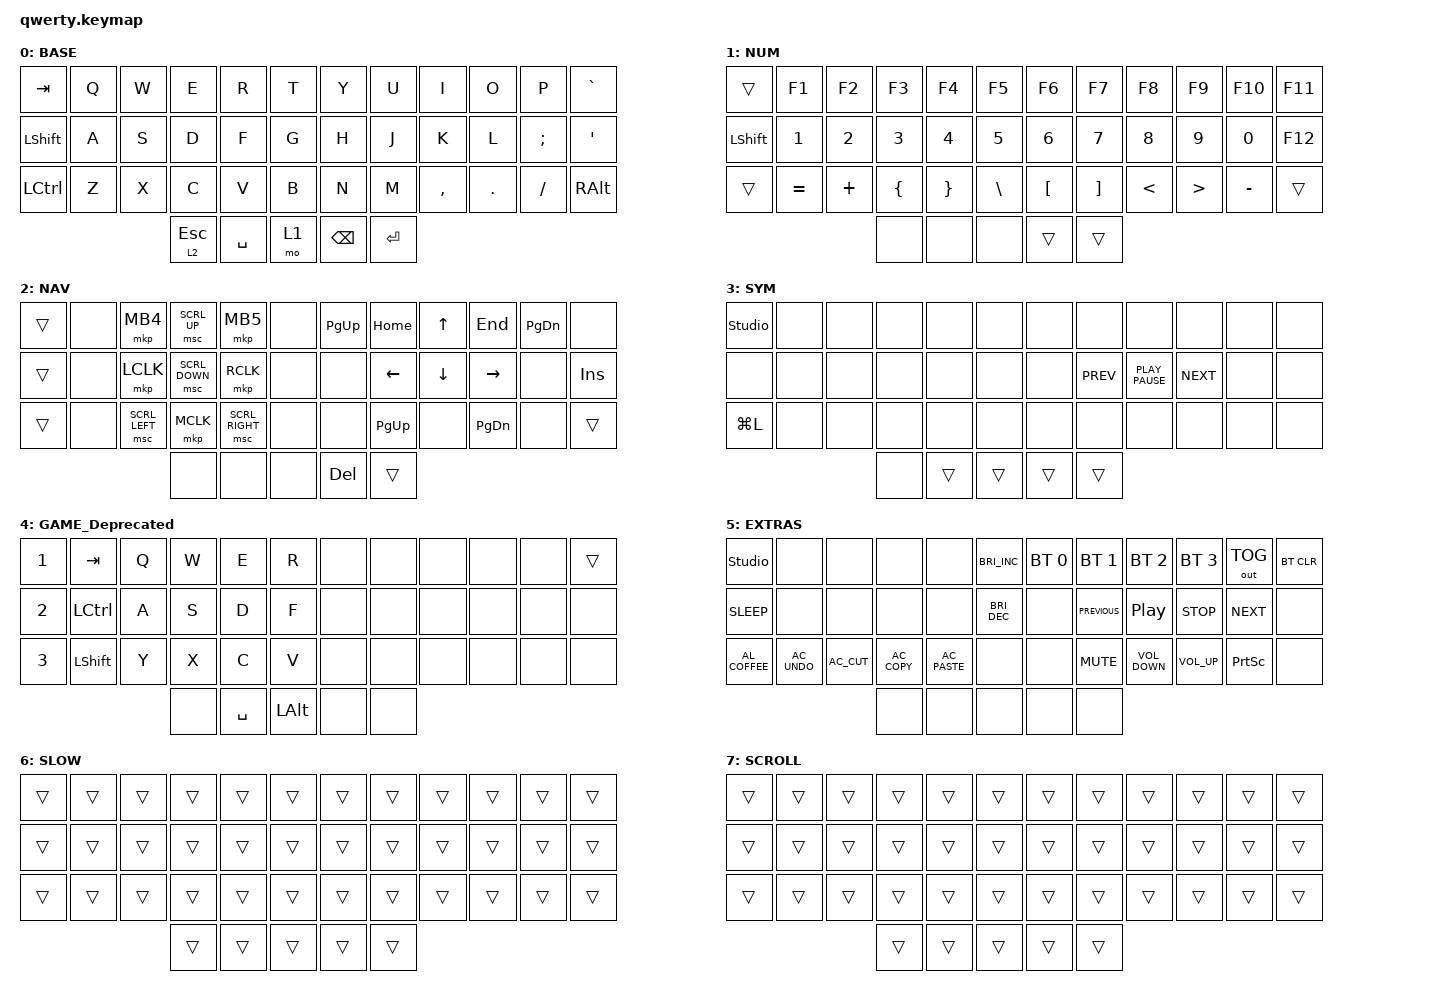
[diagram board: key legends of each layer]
/* upstream bindings and behaviors */

#include <dt-bindings/zmk/mouse.h>
#include <behaviors/mouse_keys.dtsi>
#include <behaviors.dtsi>
#include <dt-bindings/zmk/bt.h>
#include <dt-bindings/zmk/keys.h>
#include <dt-bindings/zmk/outputs.h>
#include <dt-bindings/zmk/pointing.h>

/ {
    behaviors {
        // 两个参数，第一个参数：层数（长按触发）；第二个参数：鼠标按键（短按触发）

        ht_left_click_nav: ht_left_click_nav {
            compatible = "zmk,behavior-hold-tap";
            #binding-cells = <2>;       // 需要 2 个参数（hold 层 + tap 键）
            flavor = "tap-preferred";   // 优先短按（更符合“点击”的直觉）
            tapping-term-ms = <170>;    // 长按判定时间 170ms（可调整）
            // 移除 hold-trigger-on-release（长按立即触发）
            // 移除 hold-trigger-key-positions（避免误判）

            bindings = <&mo>, <&mkp>;

            // 长按切换到层 3，短按发送左箭头
        };

        ht_left_mo_kp: ht_left_mo_kp {
            compatible = "zmk,behavior-hold-tap";
            #binding-cells = <2>;   // 两个参数（层 + 按键）
            flavor = "tap-preferred";   // 优先触发（短按）
            tapping-term-ms = <170>;    // 长按判定时间 200ms
            bindings = <&mo>, <&kp>;
        };

        mo_kp: mo_kp {
            compatible = "zmk,behavior-hold-tap";
            #binding-cells = <2>;
            flavor = "hold-preferred";
            tapping-term-ms = <40>;
            hold-while-undecided;
            bindings = <&mo>, <&kp>;
        };

        td_bore: BASE_or_EXTRA {
            compatible = "zmk,behavior-tap-dance";
            #binding-cells = <0>;
            bindings = <&mo 5>, <&to 0>;
        };
    };

    combos {
        compatible = "zmk,combos";

        CapsWord {
            bindings = <&caps_word>;
            key-positions = <17 18>;
            layers = <0>;
        };

        combo_BASE_or_EXTRAS {
            bindings = <&td_bore>;
            key-positions = <38 39>;
        };

        togle_layer_sys {
            bindings = <&mo 3>;
            key-positions = <36 37>;
        };
    };

    /* --- KEYMAP CONFIG --- */
    // ╭──────┬──────┬──────┬──────┬──────┬──────╮  ╭──────┬──────┬──────┬──────┬──────┬──────╮
    //    00     01     02     03    04      05        06     07     08     09     10     11
    // ├──────┼──────┼──────┼──────┼──────┼──────┤  ├──────┼──────┼──────┼──────┼──────┼──────┤
    //    12     13     14     15    16      17        18     19     20     21     22     23
    // ├──────┼──────┼──────┼──────┼──────┼──────┤  ├──────┼──────┼──────┼──────┼──────┼──────┤
    //    24     25     26     27    28      29        30     31     32     33     34     35
    // ╰──────┴──────┴──────┼──────┼──────┼──────┤  ├──────┼──────┼──────┴──────┴──────┴──────╯
    //                         36     37     38        39     40
    //                      ╰──────┴──────┴──────╯  ╰──────┴──────╯
    // #define BASE    0
    // #define NUM     1
    // #define NAV     2
    // #define SYM     3
    // #define GAME    4
    // #define EXTRAS  5
    // #define SLOW    6
    // #define SCROLL  7

    keymap {
        compatible = "zmk,keymap";

        BASE {
            bindings = <
&kp TAB           &kp Q  &kp W  &kp E                 &kp R      &kp T    &kp Y          &kp U      &kp I      &kp O    &kp P      &kp GRAVE
&kp LEFT_SHIFT    &kp A  &kp S  &kp D                 &kp F      &kp G    &kp H          &kp J      &kp K      &kp L    &kp SEMI   &kp SQT
&kp LEFT_CONTROL  &kp Z  &kp X  &kp C                 &kp V      &kp B    &kp N          &kp M      &kp COMMA  &kp DOT  &kp SLASH  &kp RIGHT_ALT
                                &ht_left_mo_kp 2 ESC  &kp SPACE  &mo 1    &kp BACKSPACE  &kp ENTER
            >;
        };

        NUM {
            bindings = <
&trans          &kp F1        &kp F2        &kp F3          &kp F4           &kp F5           &kp F6            &kp F7             &kp F8         &kp F9            &kp F10       &kp F11
&kp LEFT_SHIFT  &kp NUMBER_1  &kp NUMBER_2  &kp NUMBER_3    &kp NUMBER_4     &kp NUMBER_5     &kp NUMBER_6      &kp NUMBER_7       &kp NUMBER_8   &kp NUMBER_9      &kp NUMBER_0  &kp F12
&trans          &kp EQUAL     &kp PLUS      &kp LEFT_BRACE  &kp RIGHT_BRACE  &kp BACKSLASH    &kp LEFT_BRACKET  &kp RIGHT_BRACKET  &kp LESS_THAN  &kp GREATER_THAN  &kp MINUS     &trans
                                            &none           &none            &none            &trans            &trans
            >;
        };

        NAV {
            bindings = <
&trans  &none  &mkp MB4        &msc SCRL_UP    &mkp MB5         &none    &kp PAGE_UP  &kp HOME        &kp UP    &kp END        &kp PAGE_DOWN  &none
&trans  &none  &mkp LCLK       &msc SCRL_DOWN  &mkp RCLK        &none    &none        &kp LEFT_ARROW  &kp DOWN  &kp RIGHT      &none          &kp INSERT
&trans  &none  &msc SCRL_LEFT  &mkp MCLK       &msc SCRL_RIGHT  &none    &none        &kp PAGE_UP     &none     &kp PAGE_DOWN  &none          &trans
                               &none           &none            &none    &kp DELETE   &trans
            >;
        };

        SYM {
            bindings = <
&studio_unlock  &none  &none  &none  &none   &none     &none   &none       &none             &none       &none  &none
&none           &none  &none  &none  &none   &none     &none   &kp C_PREV  &kp K_PLAY_PAUSE  &kp C_NEXT  &none  &none
&kp LG(L)       &none  &none  &none  &none   &none     &none   &none       &none             &none       &none  &none
                              &none  &trans  &trans    &trans  &trans
            >;
        };

        GAME_Deprecated {
            bindings = <
&kp N1  &kp TAB    &kp Q  &kp W  &kp E      &kp R           &none  &none  &none  &none  &none  &trans
&kp N2  &kp LCTRL  &kp A  &kp S  &kp D      &kp F           &none  &none  &none  &none  &none  &none
&kp N3  &kp LSHFT  &kp Y  &kp X  &kp C      &kp V           &none  &none  &none  &none  &none  &none
                          &none  &kp SPACE  &kp LEFT_ALT    &none  &none
            >;
        };

        EXTRAS {
            bindings = <
&studio_unlock   &none          &none         &none          &none           &kp C_BRIGHTNESS_INC    &bt BT_SEL 0  &bt BT_SEL 1    &bt BT_SEL 2       &bt BT_SEL 3     &out OUT_TOG     &bt BT_CLR
&kp C_SLEEP      &none          &none         &none          &none           &kp C_BRIGHTNESS_DEC    &none         &kp C_PREVIOUS  &kp C_PLAY_PAUSE   &kp C_STOP       &kp C_NEXT       &none
&kp C_AL_COFFEE  &kp C_AC_UNDO  &kp C_AC_CUT  &kp C_AC_COPY  &kp C_AC_PASTE  &none                   &none         &kp K_MUTE      &kp C_VOLUME_DOWN  &kp C_VOLUME_UP  &kp PRINTSCREEN  &none
                                              &none          &none           &none                   &none         &none
            >;
        };

        SLOW {
            bindings = <
&trans  &trans  &trans  &trans  &trans  &trans    &trans  &trans  &trans  &trans  &trans  &trans
&trans  &trans  &trans  &trans  &trans  &trans    &trans  &trans  &trans  &trans  &trans  &trans
&trans  &trans  &trans  &trans  &trans  &trans    &trans  &trans  &trans  &trans  &trans  &trans
                        &trans  &trans  &trans    &trans  &trans
            >;
        };

        SCROLL {
            bindings = <
&trans  &trans  &trans  &trans  &trans  &trans    &trans  &trans  &trans  &trans  &trans  &trans
&trans  &trans  &trans  &trans  &trans  &trans    &trans  &trans  &trans  &trans  &trans  &trans
&trans  &trans  &trans  &trans  &trans  &trans    &trans  &trans  &trans  &trans  &trans  &trans
                        &trans  &trans  &trans    &trans  &trans
            >;
        };
    };
};
